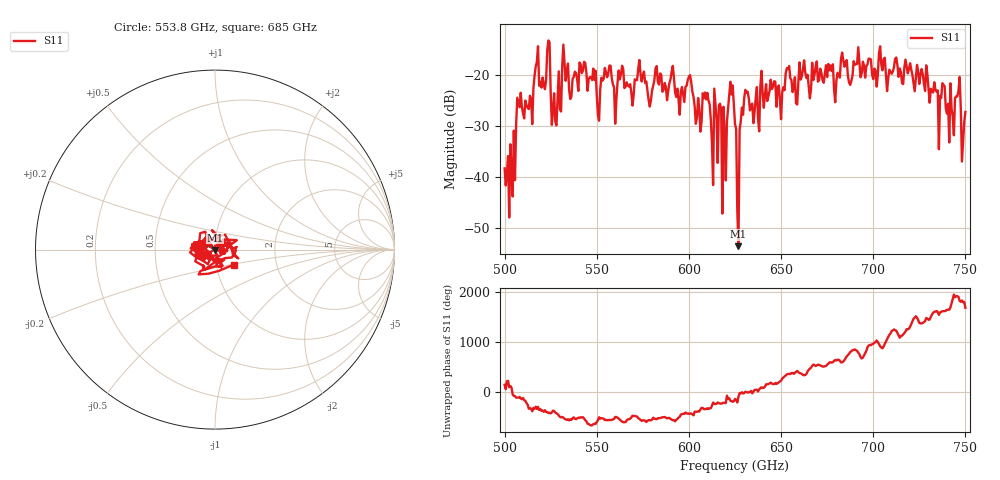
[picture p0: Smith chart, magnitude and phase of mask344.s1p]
!Created with skrf (http://scikit-rf.org).
# GHz S MA R 50.0
!freq magS11 angS11
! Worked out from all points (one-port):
!   401 points, 500 GHz to 750 GHz, reference 50 ohm
!   lowest |S11| = -53.6 dB at 626.9 GHz (marker M1), VSWR 1.00, Z = 50 - j0.209 ohm
!   |S11| at or under -10 dB: start of sweep to end of sweep
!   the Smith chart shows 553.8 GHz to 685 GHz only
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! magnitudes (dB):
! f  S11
! 500 GHz  -38.3
! 503.1 GHz  -33.6
! 507.5 GHz  -25.4
! 513.8 GHz  -24.1
! 516.9 GHz  -18.4
! 521.2 GHz  -21.8
! 523.8 GHz  -13.2
! 526.9 GHz  -23.6
! 531.2 GHz  -18.3
! 542.5 GHz  -19.2
! 551.2 GHz  -29.0
! 562.5 GHz  -20.9
! 578.8 GHz  -26.2
! 590.6 GHz  -19.4
! 593.8 GHz  -22.7
! 608.8 GHz  -23.5
! 619.4 GHz  -31.2
! 623.1 GHz  -23.8
! 625 GHz  -29.7
! 626.9 GHz  -53.6
! 628.8 GHz  -26.4
! 631.2 GHz  -23.5
! 656.2 GHz  -23.4
! 687.5 GHz  -22.0
! 718.8 GHz  -19.7
! 742.5 GHz  -26.7
! 745.6 GHz  -24.2
! 750 GHz  -27.3
